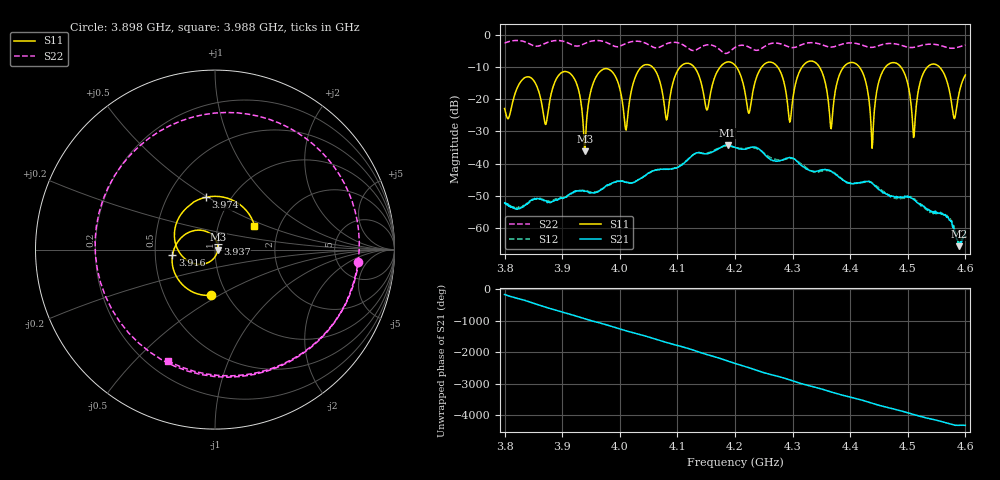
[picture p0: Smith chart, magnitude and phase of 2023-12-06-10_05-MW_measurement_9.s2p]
!Created with skrf (http://scikit-rf.org).
# Hz S RI R 50.0
!freq ReS11 ImS11 ReS21 ImS21 ReS12 ImS12 ReS22 ImS22
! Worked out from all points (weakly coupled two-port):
!   801 points, 3.8 GHz to 4.6 GHz, reference 50 ohm
!   highest |S21| = -34.28 dB at 4.187 GHz (marker M1); lowest = -65.6 dB at 4.589 GHz (marker M2)
!   lowest |S11| = -36.3 dB at 3.939 GHz (marker M3), VSWR 1.03, Z = 51.6 - j0.0513 ohm
!   |S11| at or under -10 dB: start of sweep to 4.038 GHz; 4.056 GHz to 4.105 GHz (48.68 MHz wide, 1.19 % of centre); 4.488 GHz to 4.534 GHz (46.61 MHz wide, 1.03 % of centre) (the widest 3 of 9)
!   |S22| runs from -5.8 to -1.8 dB; largest |S21 - S12| = 0.002
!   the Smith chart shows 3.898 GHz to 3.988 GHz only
!   S11 on the Smith chart (normalised r, x): 3.898 GHz: 0.84, -0.46; 3.916 GHz: 0.62, -0.04; 3.937 GHz: 1.03, +0.06; 3.974 GHz: 0.77, +0.49; 3.988 GHz: 1.49, +0.43
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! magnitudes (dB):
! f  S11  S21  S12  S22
! 3.8 GHz  -22.9  -52.2  -52.1  -2.6
! 3.898 GHz  -11.9  -50.8  -50.6  -1.9
! 3.916 GHz  -12.4  -49.4  -49.3  -3.1
! 3.934 GHz  -23.0  -48.4  -48.3  -3.2
! 3.937 GHz  -29.7  -48.5  -48.4  -2.9
! 3.939 GHz  -36.3  -48.5  -48.3  -2.8
! 3.974 GHz  -10.6  -47.3  -47.3  -2.2
! 3.988 GHz  -11.8  -46.0  -46.0  -3.4
! 4.011 GHz  -29.6  -45.7  -45.9  -2.7
! 4.067 GHz  -13.2  -41.8  -41.9  -4.0
! 4.187 GHz  -8.5  -34.3  -34.5  -5.7
! 4.2 GHz  -9.5  -35.0  -34.9  -4.0
! 4.295 GHz  -27.2  -38.1  -38.5  -3.9
! 4.334 GHz  -8.2  -42.4  -42.4  -2.5
! 4.367 GHz  -29.2  -42.4  -42.4  -3.9
! 4.414 GHz  -9.6  -46.0  -46.0  -2.9
! 4.438 GHz  -35.3  -46.2  -46.0  -4.0
! 4.467 GHz  -9.1  -49.8  -49.7  -2.7
! 4.51 GHz  -31.9  -51.2  -51.1  -4.0
! 4.538 GHz  -9.5  -54.8  -55.2  -3.0
! 4.589 GHz  -18.2  -65.6  -64.5  -3.8
! 4.6 GHz  -12.5  -60.8  -61.6  -3.2
